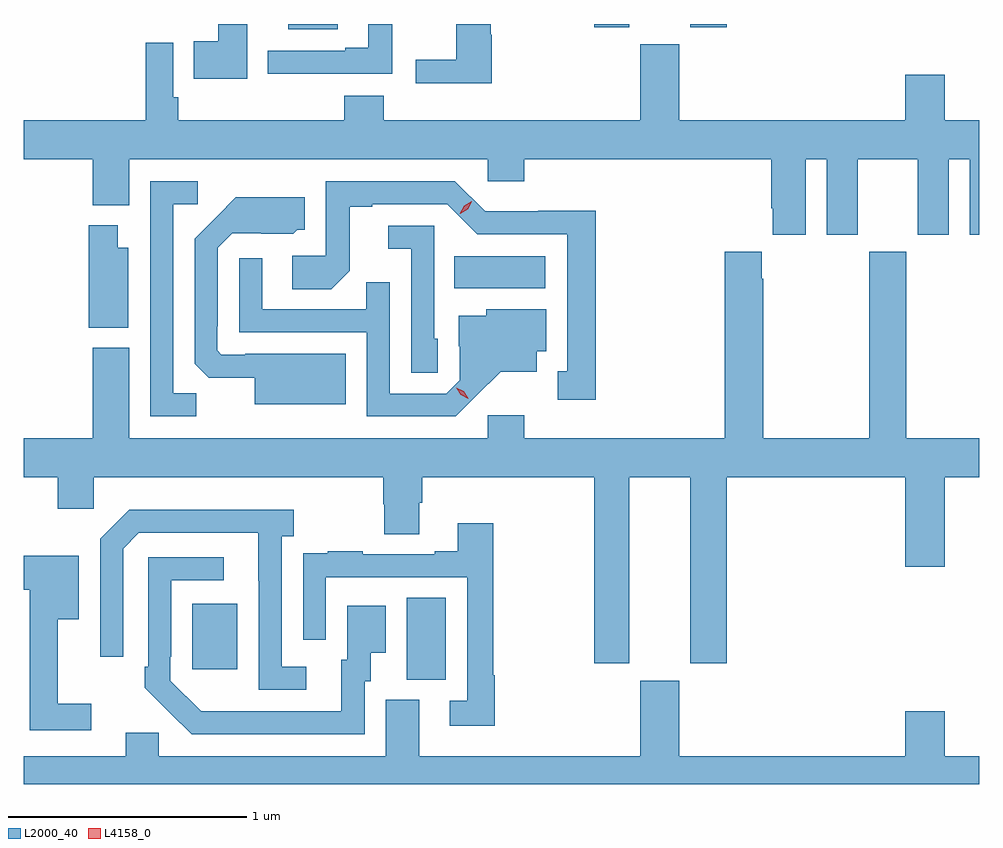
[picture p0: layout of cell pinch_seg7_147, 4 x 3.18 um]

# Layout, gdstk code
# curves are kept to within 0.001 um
import gdstk
lib = gdstk.Library(unit=1e-6, precision=1e-09)
def R(c, l, rs):  # rectangles x0, y0, x1, y1
    for r in rs: c.add(gdstk.rectangle(r[:2], r[2:], *l))
def P(c, l, *ps):  # polygons
    for p in ps: c.add(gdstk.Polygon(p, *l))
L2000_40 = (2000, 40)
L4158_0 = (4158, 0)

pinch_seg7_147 = lib.new_cell('pinch_seg7_147')
R(pinch_seg7_147, L2000_40, [(1038.044,998.437,1038.208,998.78), (1037.147,998.481,1037.335,998.755), (1038.244,1000.076,1038.625,1000.21), (1037.549,1001.159,1037.755,1001.182), (1038.829,1001.169,1038.976,1001.182), (1039.232,1001.169,1039.385,1001.182)])
P(pinch_seg7_147, L2000_40, [(1038.401,1001.138),(1038.396,1001.138),(1038.396,1001.182),(1038.251,1001.182),(1038.251,1001.033),(1038.081,1001.033),(1038.081,1000.934),(1038.401,1000.934)],
  [(1037.699,1000.974),(1037.984,1000.974),(1037.984,1001.182),(1037.883,1001.182),(1037.883,1001.083),(1037.786,1001.083),(1037.786,1001.07),(1037.462,1001.07),(1037.462,1000.973),(1037.699,1000.973)],
  [(1037.377,1001.182),(1037.255,1001.182),(1037.255,1001.11),(1037.152,1001.11),(1037.152,1000.952),(1037.377,1000.952)],
  [(1039.714,1000.616),(1039.802,1000.616),(1039.802,1000.299),(1039.933,1000.299),(1039.933,1000.616),(1040.183,1000.616),(1040.183,1000.299),(1040.314,1000.299),(1040.314,1000.616),(1040.402,1000.616),(1040.402,1000.299),(1040.441,1000.299),(1040.441,1000.78),(1040.296,1000.78),(1040.296,1000.969),(1040.132,1000.969),(1040.132,1000.78),(1039.186,1000.78),(1039.186,1001.097),(1039.022,1001.097),(1039.022,1000.78),(1037.948,1000.78),(1037.948,1000.882),(1037.783,1000.882),(1037.783,1000.78),(1037.087,1000.78),(1037.087,1000.876),(1037.067,1000.876),(1037.067,1001.104),(1036.951,1001.104),(1036.951,1000.78),(1036.441,1000.78),(1036.441,1000.616),(1036.73,1000.616),(1036.73,1000.424),(1036.882,1000.424),(1036.882,1000.616),(1038.384,1000.616),(1038.384,1000.523),(1038.536,1000.523),(1038.536,1000.616),(1039.571,1000.616),(1039.571,1000.411),(1039.577,1000.411),(1039.577,1000.299),(1039.714,1000.299)],
  [(1037.163,999.635),(1037.067,999.635),(1037.067,1000.428),(1037.17,1000.428),(1037.17,1000.524),(1036.971,1000.524),(1036.971,999.54),(1037.163,999.54)],
  [(1038.835,1000.4),(1038.594,1000.4),(1038.594,1000.398),(1038.372,1000.398),(1038.246,1000.524),(1037.706,1000.524),(1037.706,1000.212),(1037.565,1000.212),(1037.565,1000.072),(1037.729,1000.072),(1037.805,1000.148),(1037.805,1000.416),(1037.899,1000.416),(1037.899,1000.428),(1038.213,1000.428),(1038.339,1000.302),(1038.716,1000.302),(1038.716,999.729),(1038.677,999.729),(1038.677,999.609),(1038.835,999.609)],
  [(1037.788,999.802),(1037.368,999.802),(1037.368,999.798),(1037.268,999.798),(1037.25,999.816),(1037.25,999.916),(1037.253,999.916),(1037.253,1000.245),(1037.313,1000.305),(1037.57,1000.304),(1037.586,1000.32),(1037.617,1000.32),(1037.617,1000.456),(1037.329,1000.456),(1037.157,1000.282),(1037.157,999.76),(1037.216,999.701),(1037.408,999.701),(1037.408,999.59),(1037.788,999.59)],
  [(1036.879,1000.246),(1036.834,1000.246),(1036.834,1000.339),(1036.712,1000.339),(1036.712,999.911),(1036.879,999.911)],
  [(1038.174,999.864),(1038.159,999.864),(1038.159,1000.338),(1037.967,1000.338),(1037.967,1000.241),(1038.063,1000.241),(1038.063,999.721),(1038.174,999.721)],
  [(1038.976,999.284),(1039.232,999.284),(1039.232,998.505),(1039.385,998.505),(1039.385,999.284),(1040.132,999.284),(1040.132,998.91),(1040.296,998.91),(1040.296,999.284),(1040.441,999.284),(1040.441,999.448),(1040.136,999.448),(1040.136,1000.228),(1039.981,1000.228),(1039.981,999.448),(1039.536,999.448),(1039.536,1000.115),(1039.531,1000.115),(1039.531,1000.228),(1039.376,1000.228),(1039.376,999.448),(1038.536,999.448),(1038.536,999.544),(1038.384,999.544),(1038.384,999.448),(1036.882,999.448),(1036.882,999.826),(1036.73,999.826),(1036.73,999.448),(1036.441,999.448),(1036.441,999.284),(1036.583,999.284),(1036.583,999.153),(1036.734,999.153),(1036.734,999.284),(1037.945,999.284),(1037.945,999.171),(1037.95,999.171),(1037.95,999.046),(1038.097,999.046),(1038.097,999.178),(1038.11,999.178),(1038.11,999.284),(1038.829,999.284),(1038.829,998.505),(1038.976,998.505)],
  [(1038.334,999.623),(1038.437,999.725),(1038.589,999.725),(1038.589,999.812),(1038.628,999.812),(1038.628,999.988),(1038.378,999.988),(1038.378,999.961),(1038.263,999.961),(1038.263,999.832),(1038.267,999.832),(1038.267,999.69),(1038.21,999.633),(1037.973,999.633),(1037.973,1000.1),(1037.875,1000.1),(1037.875,999.987),(1037.439,999.987),(1037.439,1000.201),(1037.343,1000.201),(1037.343,999.891),(1037.877,999.891),(1037.877,999.54),(1038.25,999.54)],
  [(1037.623,998.49),(1037.52,998.49),(1037.52,999.038),(1037.572,999.038),(1037.572,999.148),(1036.882,999.148),(1036.761,999.027),(1036.761,998.532),(1036.857,998.532),(1036.857,998.985),(1036.923,999.051),(1037.423,999.051),(1037.424,998.394),(1037.623,998.394)],
  [(1038.413,998.456),(1038.406,998.456),(1038.406,999.091),(1038.257,999.091),(1038.257,998.974),(1038.161,998.974),(1038.161,998.961),(1037.861,998.961),(1037.861,998.974),(1037.713,998.974),(1037.713,998.967),(1037.611,998.967),(1037.611,998.858),(1037.61,998.858),(1037.61,998.604),(1037.706,998.604),(1037.706,998.865),(1038.297,998.865),(1038.297,998.349),(1038.225,998.349),(1038.225,998.244),(1038.413,998.244)],
  [(1036.723,998.335),(1036.583,998.335),(1036.583,998.69),(1036.672,998.69),(1036.672,998.955),(1036.441,998.955),(1036.441,998.813),(1036.465,998.813),(1036.465,998.226),(1036.723,998.226)],
  [(1037.868,998.43),(1037.893,998.43),(1037.893,998.549),(1037.956,998.549),(1037.956,998.746),(1037.795,998.746),(1037.795,998.52),(1037.771,998.52),(1037.771,998.304),(1037.184,998.305),(1037.055,998.433),(1037.055,998.533),(1037.058,998.533),(1037.058,998.853),(1037.278,998.853),(1037.278,998.949),(1036.962,998.949),(1036.962,998.491),(1036.947,998.491),(1036.947,998.403),(1037.144,998.208),(1037.868,998.208)],
  [(1040.441,998.116),(1040.296,998.116),(1040.296,998.305),(1040.132,998.305),(1040.132,998.116),(1039.186,998.116),(1039.186,998.433),(1039.022,998.433),(1039.022,998.116),(1038.097,998.116),(1038.097,998.352),(1037.957,998.352),(1037.957,998.116),(1037.007,998.116),(1037.007,998.214),(1036.868,998.214),(1036.868,998.116),(1036.441,998.116),(1036.441,998),(1040.441,998)])
P(pinch_seg7_147, L4158_0, [(1038.267,1000.387),(1038.267,1000.387),(1038.285,1000.42),(1038.317,1000.439),(1038.317,1000.439),(1038.317,1000.438),(1038.299,1000.406),(1038.268,1000.387)],
  [(1038.301,999.614),(1038.27,999.629),(1038.252,999.659),(1038.252,999.659),(1038.252,999.659),(1038.283,999.644),(1038.301,999.615),(1038.301,999.614)])

lib.write_gds('pinch_seg7_147.gds')
